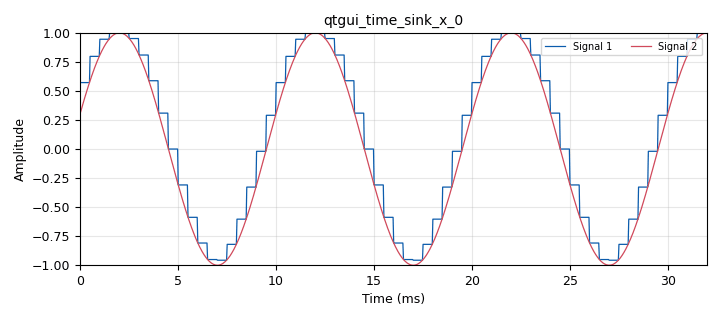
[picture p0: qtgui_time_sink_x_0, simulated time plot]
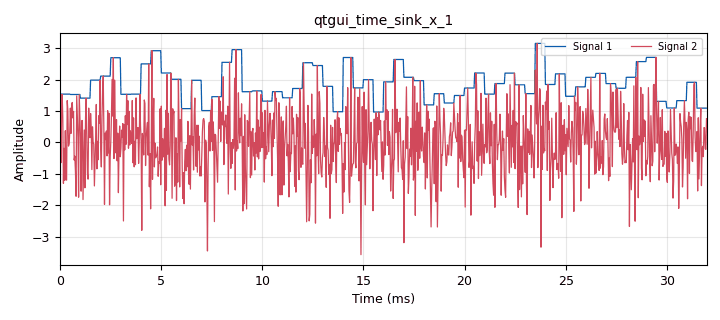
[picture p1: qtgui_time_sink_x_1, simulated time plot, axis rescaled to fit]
options:
  parameters:
    generate_options: qt_gui
    id: python_block_vector
    output_language: python
    title: Not titled yet
  states: {}

blocks:
- name: samp_rate
  id: variable
  parameters:
    value: '32000'
  states: {}
- name: vector_len
  id: variable
  parameters:
    value: '16'
  states: {}
- name: analog_noise_source_x_0
  id: analog_noise_source_x
  parameters:
    amp: '1'
    noise_type: analog.GR_GAUSSIAN
    seed: '0'
    type: float
  states: {}
- name: analog_sig_source_x_0
  id: analog_sig_source_x
  parameters:
    amp: '1'
    freq: '100'
    offset: '0'
    phase: '0'
    samp_rate: samp_rate
    type: float
    waveform: analog.GR_COS_WAVE
  states: {}
- name: blocks_stream_to_vector_0
  id: blocks_stream_to_vector
  parameters:
    num_items: vector_len
    type: float
  states: {}
- name: blocks_stream_to_vector_1
  id: blocks_stream_to_vector
  parameters:
    num_items: vector_len
    type: float
  states: {}
- name: blocks_throttle_0
  id: blocks_throttle
  parameters:
    samples_per_second: samp_rate
    type: float
  states: {}
- name: blocks_vector_to_stream_0
  id: blocks_vector_to_stream
  parameters:
    num_items: vector_len
    type: float
  states: {}
- name: blocks_vector_to_stream_1
  id: blocks_vector_to_stream
  parameters:
    num_items: vector_len
    type: float
  states: {}
- name: epy_block_0
  id: epy_block
  parameters:
    _source_code: |
      """
      Embedded Python Blocks:

      Each time this file is saved, GRC will instantiate the first class it finds
      to get ports and parameters of your block. The arguments to __init__  will
      be the parameters. All of them are required to have default values!
      """

      import numpy as np
      from gnuradio import gr


      class blk(gr.sync_block):  # other base classes are basic_block, decim_block, interp_block
          """Embedded Python Block example - a simple multiply const"""

          def __init__(self, vector_size = 16):  # only default arguments here
              """arguments to this function show up as parameters in GRC"""
              gr.sync_block.__init__(
                  self,
                  name = 'max hold block',   # will show up in GRC
                  in_sig=[(np.float32, vector_size), (np.float32, vector_size)],
                  out_sig=[(np.float32, vector_size), (np.float32, vector_size)]
              )
              # if an attribute with the same name as a parameter is found,
              # a callback is registered (properties work, too).

          def work(self, input_items, output_items):
              """example: multiply with constant"""
              for port_index in range(len(input_items)):
                  for vector_index in range(len(input_items[port_index])):
                      max_value = np.max(input_items[port_index][vector_index])

                      for sample_index in range(len(input_items[port_index][vector_index])):
                          output_items[port_index][vector_index][sample_index] = max_value

              return len(output_items[0])
    vector_size: vector_len
  states: {}
- name: qtgui_time_sink_x_0
  id: qtgui_time_sink_x
  parameters:
    nconnections: '2'
    size: '1024'
    srate: samp_rate
    type: float
  states: {}
- name: qtgui_time_sink_x_1
  id: qtgui_time_sink_x
  parameters:
    nconnections: '2'
    size: '1024'
    srate: samp_rate
    type: float
  states: {}
- name: virtual_sink_0
  id: virtual_sink
  parameters:
    stream_id: sinusoid
  states: {}
- name: virtual_sink_1
  id: virtual_sink
  parameters:
    stream_id: noise
  states: {}
- name: virtual_source_0
  id: virtual_source
  parameters:
    stream_id: sinusoid
  states: {}
- name: virtual_source_1
  id: virtual_source
  parameters:
    stream_id: noise
  states: {}

connections:
- [analog_noise_source_x_0, '0', blocks_stream_to_vector_1, '0']
- [analog_noise_source_x_0, '0', virtual_sink_1, '0']
- [analog_sig_source_x_0, '0', blocks_throttle_0, '0']
- [analog_sig_source_x_0, '0', virtual_sink_0, '0']
- [blocks_stream_to_vector_0, '0', epy_block_0, '0']
- [blocks_stream_to_vector_1, '0', epy_block_0, '1']
- [blocks_throttle_0, '0', blocks_stream_to_vector_0, '0']
- [blocks_vector_to_stream_0, '0', qtgui_time_sink_x_0, '0']
- [blocks_vector_to_stream_1, '0', qtgui_time_sink_x_1, '0']
- [epy_block_0, '0', blocks_vector_to_stream_0, '0']
- [epy_block_0, '1', blocks_vector_to_stream_1, '0']
- [virtual_source_0, '0', qtgui_time_sink_x_0, '1']
- [virtual_source_1, '0', qtgui_time_sink_x_1, '1']

metadata:
  file_format: 1
